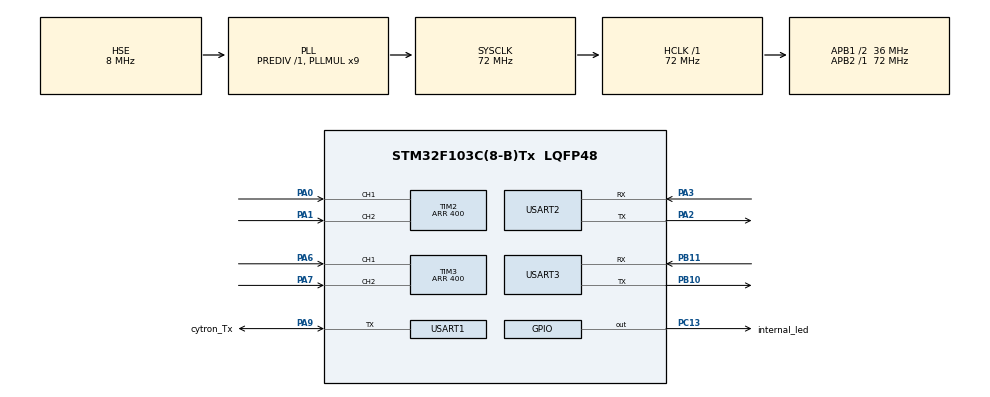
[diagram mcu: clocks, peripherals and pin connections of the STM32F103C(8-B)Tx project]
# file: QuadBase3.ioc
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Dma.Request0=USART3_RX
Dma.USART3_RX.0.Direction=DMA_PERIPH_TO_MEMORY
Dma.USART3_RX.0.Instance=DMA1_Channel3
Dma.USART3_RX.0.MemDataAlignment=DMA_MDATAALIGN_BYTE
Dma.USART3_RX.0.MemInc=DMA_MINC_ENABLE
Dma.USART3_RX.0.Mode=DMA_CIRCULAR
Dma.USART3_RX.0.PeriphDataAlignment=DMA_PDATAALIGN_BYTE
Dma.USART3_RX.0.PeriphInc=DMA_PINC_DISABLE
Dma.USART3_RX.0.Priority=DMA_PRIORITY_LOW
Mcu.Family=STM32F1
Mcu.Name=STM32F103C(8-B)Tx
Mcu.Package=LQFP48
NVIC.DMA1_Channel3_IRQn=true\:0\:0\:false\:false\:true\:false\:true\:true
NVIC.PriorityGroup=NVIC_PRIORITYGROUP_4
PA0-WKUP.Signal=S_TIM2_CH1_ETR
PA1.Signal=S_TIM2_CH2
PA13.Mode=Serial_Wire
PA13.Signal=SYS_JTMS-SWDIO
PA14.Mode=Serial_Wire
PA14.Signal=SYS_JTCK-SWCLK
PA2.Mode=Asynchronous
PA2.Signal=USART2_TX
PA3.Mode=Asynchronous
PA3.Signal=USART2_RX
PA6.Signal=S_TIM3_CH1
PA7.Signal=S_TIM3_CH2
PA9.GPIO_Label=cytron_Tx
PA9.Mode=Half_duplex(single_wire_mode)
PA9.Signal=USART1_TX
PB10.Mode=Asynchronous
PB10.Signal=USART3_TX
PB11.Mode=Asynchronous
PB11.Signal=USART3_RX
PC13-TAMPER-RTC.GPIO_Label=internal_led
PC13-TAMPER-RTC.Signal=GPIO_Output
PC14-OSC32_IN.Mode=LSE-External-Clock-Source
PC14-OSC32_IN.Signal=RCC_OSC32_IN
PC15-OSC32_OUT.Mode=LSE-External-Clock-Source
PC15-OSC32_OUT.Signal=RCC_OSC32_OUT
PD0-OSC_IN.Mode=HSE-External-Oscillator
PD0-OSC_IN.Signal=RCC_OSC_IN
PD1-OSC_OUT.Mode=HSE-External-Oscillator
PD1-OSC_OUT.Signal=RCC_OSC_OUT
ProjectManager.HeapSize=0x200
ProjectManager.StackSize=0x400
ProjectManager.TargetToolchain=STM32CubeIDE
RCC.AHBFreq_Value=72000000
RCC.APB1CLKDivider=RCC_HCLK_DIV2
RCC.APB1Freq_Value=36000000
RCC.APB1TimFreq_Value=72000000
RCC.APB2Freq_Value=72000000
RCC.APB2TimFreq_Value=72000000
RCC.HCLKFreq_Value=72000000
RCC.PLLMUL=RCC_PLL_MUL9
RCC.PLLSourceVirtual=RCC_PLLSOURCE_HSE
RCC.SYSCLKFreq_VALUE=72000000
RCC.SYSCLKSource=RCC_SYSCLKSOURCE_PLLCLK
RCC.USBFreq_Value=72000000
SH.S_TIM2_CH1_ETR.0=TIM2_CH1,Encoder_Interface
SH.S_TIM2_CH2.0=TIM2_CH2,Encoder_Interface
SH.S_TIM3_CH1.0=TIM3_CH1,Encoder_Interface
SH.S_TIM3_CH2.0=TIM3_CH2,Encoder_Interface
TIM2.AutoReloadPreload=TIM_AUTORELOAD_PRELOAD_ENABLE
TIM2.EncoderMode=TIM_ENCODERMODE_TI12
TIM2.Period=400
TIM3.AutoReloadPreload=TIM_AUTORELOAD_PRELOAD_ENABLE
TIM3.EncoderMode=TIM_ENCODERMODE_TI12
TIM3.Period=400
USART1.VirtualMode=VM_ASYNC
USART2.VirtualMode=VM_ASYNC
USART3.VirtualMode=VM_ASYNC
board=custom

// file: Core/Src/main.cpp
/* USER CODE BEGIN Header */
/**
  **************************
  * @file           : main.c
  * @brief          : Main program body
  **************************
  * @attention
  *
  * Copyright (c) 2024 STMicroelectronics.
  * All rights reserved.
  *
  * This software is licensed under terms that can be found in the LICENSE file
  * in the root directory of this software component.
  * If no LICENSE file comes with this software, it is provided AS-IS.
  *
  **************************
  */
/* USER CODE END Header */
#include "main.h"

/* USER CODE BEGIN Includes */
#include "PID.h"
#include <cmath>
#include "GY_25.h"
#include "Motor.h"
#include "QuadBase.h"
#include "Encoder_v1.0.h"
/* USER CODE END Includes */

/* USER CODE BEGIN PD */
#define DATA_SIZE (10)		// size of ESP32->STM32 UART data in bytes(uint8) [NOT including EXTRA_BYTES]
#define RAW_DATA_SIZE (12)	// size of ESP32->STM32 UART data in bytes(uint8) [including EXTRA_BYTES]
#define START_BYTE (1) 		// start byte of ESP->STM UART
/* USER CODE END PD */

TIM_HandleTypeDef htim2;
TIM_HandleTypeDef htim3;

UART_HandleTypeDef huart1;
UART_HandleTypeDef huart2;
UART_HandleTypeDef huart3;
DMA_HandleTypeDef hdma_usart3_rx;

void SystemClock_Config(void);
static void MX_GPIO_Init(void);
static void MX_DMA_Init(void);
static void MX_TIM2_Init(void);
static void MX_TIM3_Init(void);
static void MX_USART1_UART_Init(void);
static void MX_USART2_UART_Init(void);
static void MX_USART3_UART_Init(void);

/* USER CODE BEGIN 0 */

// variables for IMU(GY-25)
GY_25 imu(huart2);

// variables for encoders
Encoder encoder_x(&htim3, 100, 55, ENCODER_UNITS.MM);
Encoder encoder_y(&htim2, 100, 55, ENCODER_UNITS.MM);

// Variables for motors of the base

MOTOR motor1(huart1, 0b0000);
MOTOR motor2(huart1, 0b1000);
MOTOR motor3(huart1, 0b0001);
MOTOR motor4(huart1, 0b1001);

// variables for ESP to STM via UART
uint8_t received_data[RAW_DATA_SIZE];
uint8_t ordered_data[DATA_SIZE];
uint8_t check_sum_byte;
bool last_sync_status = false;
bool in_sync = false;
bool data1[8];
bool data2[8];

// variables for inverse kinematics
QuadBaseKinematics Base;
float x_velocity;
float y_velocity;
float omega;

// variables for odometry output
float raw_x_position;
float raw_y_position;
float raw_theta;

float x_position;
float y_position;
float theta;

float offset_x_position;
float offset_y_position;
float offset_theta;

// variables for odometry calculations
float encoder_x_offset = -0.185;  // in meters
float encoder_y_offset = -0.175;  // in meters

float last_theta;
float last_encoder_x;
float last_encoder_y;

float current_theta;
float current_encoder_x;
float current_encoder_y;

float delta_theta;
float delta_x;
float delta_y;

// variables for applying odometry
float desired_x_position = 0;
float desired_y_position = 0;
float max_error_x = 0.01;
float max_error_y = 0.01;
float max_x_velocity = 0.2;
float max_y_velocity = 0.2;
float x_velocity_scaler = 1;
float y_velocity_scaler = 1;

// variables for PID
PID x_position_pid(x_velocity_scaler, 0, 0);
PID y_position_pid(y_velocity_scaler, 0, 0);
PID theta_pid(1, 0, 0.4);

// function for converting an uint8_t to an array of 8 bool
void byte_to_bools(unsigned char c, bool b[8])
{
    for (int i=0; i < 8; ++i) {
        b[i] = (c & (1<<i)) != 0;
    }
}
/* USER CODE END 0 */

int main(void)
{

  /* MCU Configuration--------------------------------------------------------*/

  /* Reset of all peripherals, Initializes the Flash interface and the Systick. */
  HAL_Init();

  /* Configure the system clock */
  SystemClock_Config();

  /* Initialize all configured peripherals */
  MX_GPIO_Init();
  MX_DMA_Init();
  MX_TIM2_Init();
  MX_TIM3_Init();
  MX_USART1_UART_Init();
  MX_USART2_UART_Init();
  MX_USART3_UART_Init();
  /* USER CODE BEGIN 2 */
  HAL_Delay(1000);
  motor1.motor_init();
  motor2.motor_init();
  motor3.motor_init();
  motor4.motor_init();
  HAL_UART_Receive_DMA(&huart3, received_data, RAW_DATA_SIZE);
  encoder_x.init();
  encoder_y.init();

  x_position_pid.set_minimum_error(0.01);
  y_position_pid.set_minimum_error(0.01);
  theta_pid.set_minimum_error(0.05);

  x_position_pid.set_output_constrains(max_x_velocity, -max_x_velocity);
  y_position_pid.set_output_constrains(max_y_velocity, -max_y_velocity);
  theta_pid.set_output_constrains(1/0.3125, -1/0.3125);

  imu.update_counts();
  imu.update_angles();
  encoder_x.update();
  encoder_y.update();
  offset_x_position = x_position;
  offset_y_position = y_position;
  offset_theta = (imu.x_angle)*2*M_PI/360;
  /* USER CODE END 2 */

  /* Infinite loop */
  while (1)
  {

    /* USER CODE BEGIN 3 */
	  /*
	   * receiving UART data of ESP32 and storing it
	   * stores the value in ordered_data as byte(uint8) array
	   */
	  last_sync_status = in_sync;
	  in_sync = false;
  	  for (uint8_t i = 0; i<RAW_DATA_SIZE; i++){
  		  if (received_data[i] == START_BYTE) {
  			  check_sum_byte = 0;
  			  for (uint8_t j = 0; j<DATA_SIZE; j++){
  				  ordered_data[j] = received_data[(i+j+1)%(RAW_DATA_SIZE)];
  				  check_sum_byte += ordered_data[j];
  			  }
  			  if (received_data[(i+RAW_DATA_SIZE-1)%RAW_DATA_SIZE] == check_sum_byte) {
  				  in_sync = true;
  				  break;
  			  }
  		  }
  	  }
  	  // updating out of sync led
  	  if (last_sync_status != in_sync){
  		  if (!in_sync) {
  			  HAL_GPIO_WritePin(GPIOC, GPIO_PIN_13, GPIO_PIN_SET);
  		  }
  		  else {
  			  HAL_GPIO_WritePin(GPIOC, GPIO_PIN_13, GPIO_PIN_RESET);
  		  }
  	  }
  	  // converting the ordered data (uint8 array) to array of bools
  	  byte_to_bools(ordered_data[1], data1);
  	  byte_to_bools(ordered_data[2], data2);
  	  desired_x_position = ((float)ordered_data[3]) - 127;
  	  desired_y_position = ((float)ordered_data[4]) - 127;
  	  /*
  	   * updating the reading of IMU
  	   */
  	  imu.update_counts();
	  imu.update_angles();

	  /*
	   * updating encoder values
	   */
	  encoder_x.update();
	  encoder_y.update();

	  /*
	   * storing the values of encoders and IMU appropriately
	   */
	  last_encoder_x = current_encoder_x;
	  last_encoder_y = current_encoder_y;
	  last_theta = current_theta;
	  current_encoder_x = encoder_x.getDistance(ENCODER_UNITS.METER);
	  current_encoder_y = encoder_y.getDistance(ENCODER_UNITS.METER);
	  current_theta = (imu.x_angle)*2*M_PI/360;

	  /*
	   * calculations for odometry
	   */
	  delta_theta = current_theta - last_theta;
	  delta_x = current_encoder_x - last_encoder_x;
	  delta_y = current_encoder_y - last_encoder_y;
	  float delta_position_x = delta_x + (delta_theta * encoder_x_offset);
	  float delta_position_y = delta_y - (delta_theta * encoder_y_offset);
	  raw_x_position += cos(current_theta)*delta_position_x - sin(current_theta)*delta_position_y;
	  raw_y_position += sin(current_theta)*delta_position_x + cos(current_theta)*delta_position_y;
	  raw_theta = current_theta;
	  /*
	   * 		 Y+
	   * 		  ^
	   * 		  |
	   *          |
	   *  4 /           \ 3
	   *   /\  ESP STM  /\
	   *     \         /
	   *      \_______/
	   *       |     | MDDS30
	   *       |_____| MDDS30  ----->X+
	   *      /      \
	   *     /        \
	   *   \/          \/
	   *  2 \          / 1
	   */

	  // applying PID onto x position, y position, and theta
	  x_velocity = 0;
	  y_velocity = 0;
	  omega = 0;

	  x_position = raw_x_position - offset_x_position;
	  y_position = raw_y_position - offset_y_position;
	  theta = raw_theta - offset_theta;
//	  if (y_position <= desired_y_position - max_error_y || y_position >= desired_y_position + max_error_y) {
//		  y_velocity += (desired_y_position - y_position)*y_velocity_scaler;
//	  }
//	  if (x_position <= desired_x_position - max_error_x || x_position >= desired_x_position + max_error_x) {
//		  x_velocity += (desired_x_position - x_position)*x_velocity_scaler;
//	  }
//	  if (y_velocity >  max_y_velocity) {y_velocity =  max_y_velocity;}
//	  if (y_velocity < -max_y_velocity) {y_velocity = -max_y_velocity;}
//	  if (x_velocity >  max_x_velocity) {x_velocity =  max_x_velocity;}
//	  if (x_velocity < -max_x_velocity) {x_velocity = -max_x_velocity;}
	  x_velocity = x_position_pid.compute(desired_x_position - x_position);
	  y_velocity = y_position_pid.compute(desired_y_position - y_position);
	  omega = theta_pid.compute(0 - theta);
	  Base.calculate_speeds(theta, x_velocity, y_velocity, omega*0.7);

	  if (abs(Base.speed1) <= 10) {Base.speed1 = 0;}
	  if (abs(Base.speed2) <= 10) {Base.speed2 = 0;}
	  if (abs(Base.speed3) <= 10) {Base.speed3 = 0;}
	  if (abs(Base.speed4) <= 10) {Base.speed4 = 0;}
	  /*
	   * Actuating the motors
	   */
	  motor1.set_speed(Base.speed1);
	  motor2.set_speed(Base.speed2);
	  motor3.set_speed(Base.speed3);
	  motor4.set_speed(Base.speed4);
  }
  /* USER CODE END 3 */
}

void SystemClock_Config(void)
{
  RCC_OscInitTypeDef RCC_OscInitStruct = {0};
  RCC_ClkInitTypeDef RCC_ClkInitStruct = {0};

  /** Initializes the RCC Oscillators according to the specified parameters
  * in the RCC_OscInitTypeDef structure.
  */
  RCC_OscInitStruct.OscillatorType = RCC_OSCILLATORTYPE_HSE;
  RCC_OscInitStruct.HSEState = RCC_HSE_ON;
  RCC_OscInitStruct.HSEPredivValue = RCC_HSE_PREDIV_DIV1;
  RCC_OscInitStruct.HSIState = RCC_HSI_ON;
  RCC_OscInitStruct.PLL.PLLState = RCC_PLL_ON;
  RCC_OscInitStruct.PLL.PLLSource = RCC_PLLSOURCE_HSE;
  RCC_OscInitStruct.PLL.PLLMUL = RCC_PLL_MUL9;
  if (HAL_RCC_OscConfig(&RCC_OscInitStruct) != HAL_OK)
  {
    Error_Handler();
  }

  /** Initializes the CPU, AHB and APB buses clocks
  */
  RCC_ClkInitStruct.ClockType = RCC_CLOCKTYPE_HCLK|RCC_CLOCKTYPE_SYSCLK
                              |RCC_CLOCKTYPE_PCLK1|RCC_CLOCKTYPE_PCLK2;
  RCC_ClkInitStruct.SYSCLKSource = RCC_SYSCLKSOURCE_PLLCLK;
  RCC_ClkInitStruct.AHBCLKDivider = RCC_SYSCLK_DIV1;
  RCC_ClkInitStruct.APB1CLKDivider = RCC_HCLK_DIV2;
  RCC_ClkInitStruct.APB2CLKDivider = RCC_HCLK_DIV1;

  if (HAL_RCC_ClockConfig(&RCC_ClkInitStruct, FLASH_LATENCY_2) != HAL_OK)
  {
    Error_Handler();
  }
}

static void MX_TIM2_Init(void)
{

  TIM_Encoder_InitTypeDef sConfig = {0};
  TIM_MasterConfigTypeDef sMasterConfig = {0};

  htim2.Instance = TIM2;
  htim2.Init.Prescaler = 0;
  htim2.Init.CounterMode = TIM_COUNTERMODE_UP;
  htim2.Init.Period = 400;
  htim2.Init.ClockDivision = TIM_CLOCKDIVISION_DIV1;
  htim2.Init.AutoReloadPreload = TIM_AUTORELOAD_PRELOAD_ENABLE;
  sConfig.EncoderMode = TIM_ENCODERMODE_TI12;
  sConfig.IC1Polarity = TIM_ICPOLARITY_RISING;
  sConfig.IC1Selection = TIM_ICSELECTION_DIRECTTI;
  sConfig.IC1Prescaler = TIM_ICPSC_DIV1;
  sConfig.IC1Filter = 0;
  sConfig.IC2Polarity = TIM_ICPOLARITY_RISING;
  sConfig.IC2Selection = TIM_ICSELECTION_DIRECTTI;
  sConfig.IC2Prescaler = TIM_ICPSC_DIV1;
  sConfig.IC2Filter = 0;
  if (HAL_TIM_Encoder_Init(&htim2, &sConfig) != HAL_OK)
  {
    Error_Handler();
  }
  sMasterConfig.MasterOutputTrigger = TIM_TRGO_RESET;
  sMasterConfig.MasterSlaveMode = TIM_MASTERSLAVEMODE_DISABLE;
  if (HAL_TIMEx_MasterConfigSynchronization(&htim2, &sMasterConfig) != HAL_OK)
  {
    Error_Handler();
  }

}

static void MX_TIM3_Init(void)
{

  TIM_Encoder_InitTypeDef sConfig = {0};
  TIM_MasterConfigTypeDef sMasterConfig = {0};

  htim3.Instance = TIM3;
  htim3.Init.Prescaler = 0;
  htim3.Init.CounterMode = TIM_COUNTERMODE_UP;
  htim3.Init.Period = 400;
  htim3.Init.ClockDivision = TIM_CLOCKDIVISION_DIV1;
  htim3.Init.AutoReloadPreload = TIM_AUTORELOAD_PRELOAD_ENABLE;
  sConfig.EncoderMode = TIM_ENCODERMODE_TI12;
  sConfig.IC1Polarity = TIM_ICPOLARITY_RISING;
  sConfig.IC1Selection = TIM_ICSELECTION_DIRECTTI;
  sConfig.IC1Prescaler = TIM_ICPSC_DIV1;
  sConfig.IC1Filter = 0;
  sConfig.IC2Polarity = TIM_ICPOLARITY_RISING;
  sConfig.IC2Selection = TIM_ICSELECTION_DIRECTTI;
  sConfig.IC2Prescaler = TIM_ICPSC_DIV1;
  sConfig.IC2Filter = 0;
  if (HAL_TIM_Encoder_Init(&htim3, &sConfig) != HAL_OK)
  {
    Error_Handler();
  }
  sMasterConfig.MasterOutputTrigger = TIM_TRGO_RESET;
  sMasterConfig.MasterSlaveMode = TIM_MASTERSLAVEMODE_DISABLE;
  if (HAL_TIMEx_MasterConfigSynchronization(&htim3, &sMasterConfig) != HAL_OK)
  {
    Error_Handler();
  }

}

static void MX_USART1_UART_Init(void)
{

  huart1.Instance = USART1;
  huart1.Init.BaudRate = 115200;
  huart1.Init.WordLength = UART_WORDLENGTH_8B;
  huart1.Init.StopBits = UART_STOPBITS_1;
  huart1.Init.Parity = UART_PARITY_NONE;
  huart1.Init.Mode = UART_MODE_TX_RX;
  huart1.Init.HwFlowCtl = UART_HWCONTROL_NONE;
  huart1.Init.OverSampling = UART_OVERSAMPLING_16;
  if (HAL_HalfDuplex_Init(&huart1) != HAL_OK)
  {
    Error_Handler();
  }

}

static void MX_USART2_UART_Init(void)
{

  huart2.Instance = USART2;
  huart2.Init.BaudRate = 115200;
  huart2.Init.WordLength = UART_WORDLENGTH_8B;
  huart2.Init.StopBits = UART_STOPBITS_1;
  huart2.Init.Parity = UART_PARITY_NONE;
  huart2.Init.Mode = UART_MODE_TX_RX;
  huart2.Init.HwFlowCtl = UART_HWCONTROL_NONE;
  huart2.Init.OverSampling = UART_OVERSAMPLING_16;
  if (HAL_UART_Init(&huart2) != HAL_OK)
  {
    Error_Handler();
  }

}

static void MX_USART3_UART_Init(void)
{

  huart3.Instance = USART3;
  huart3.Init.BaudRate = 115200;
  huart3.Init.WordLength = UART_WORDLENGTH_8B;
  huart3.Init.StopBits = UART_STOPBITS_1;
  huart3.Init.Parity = UART_PARITY_NONE;
  huart3.Init.Mode = UART_MODE_TX_RX;
  huart3.Init.HwFlowCtl = UART_HWCONTROL_NONE;
  huart3.Init.OverSampling = UART_OVERSAMPLING_16;
  if (HAL_UART_Init(&huart3) != HAL_OK)
  {
    Error_Handler();
  }

}

static void MX_DMA_Init(void)
{

  /* DMA controller clock enable */
  __HAL_RCC_DMA1_CLK_ENABLE();

  /* DMA interrupt init */
  /* DMA1_Channel3_IRQn interrupt configuration */
  HAL_NVIC_SetPriority(DMA1_Channel3_IRQn, 0, 0);
  HAL_NVIC_EnableIRQ(DMA1_Channel3_IRQn);

}

static void MX_GPIO_Init(void)
{
  GPIO_InitTypeDef GPIO_InitStruct = {0};

  /* GPIO Ports Clock Enable */
  __HAL_RCC_GPIOC_CLK_ENABLE();
  __HAL_RCC_GPIOD_CLK_ENABLE();
  __HAL_RCC_GPIOA_CLK_ENABLE();
  __HAL_RCC_GPIOB_CLK_ENABLE();

  /*Configure GPIO pin Output Level */
  HAL_GPIO_WritePin(internal_led_GPIO_Port, internal_led_Pin, GPIO_PIN_RESET);

  /*Configure GPIO pin : internal_led_Pin */
  GPIO_InitStruct.Pin = internal_led_Pin;
  GPIO_InitStruct.Mode = GPIO_MODE_OUTPUT_PP;
  GPIO_InitStruct.Pull = GPIO_NOPULL;
  GPIO_InitStruct.Speed = GPIO_SPEED_FREQ_LOW;
  HAL_GPIO_Init(internal_led_GPIO_Port, &GPIO_InitStruct);

}

void Error_Handler(void)
{
  __disable_irq();
  while (1)
  {
  }
}
